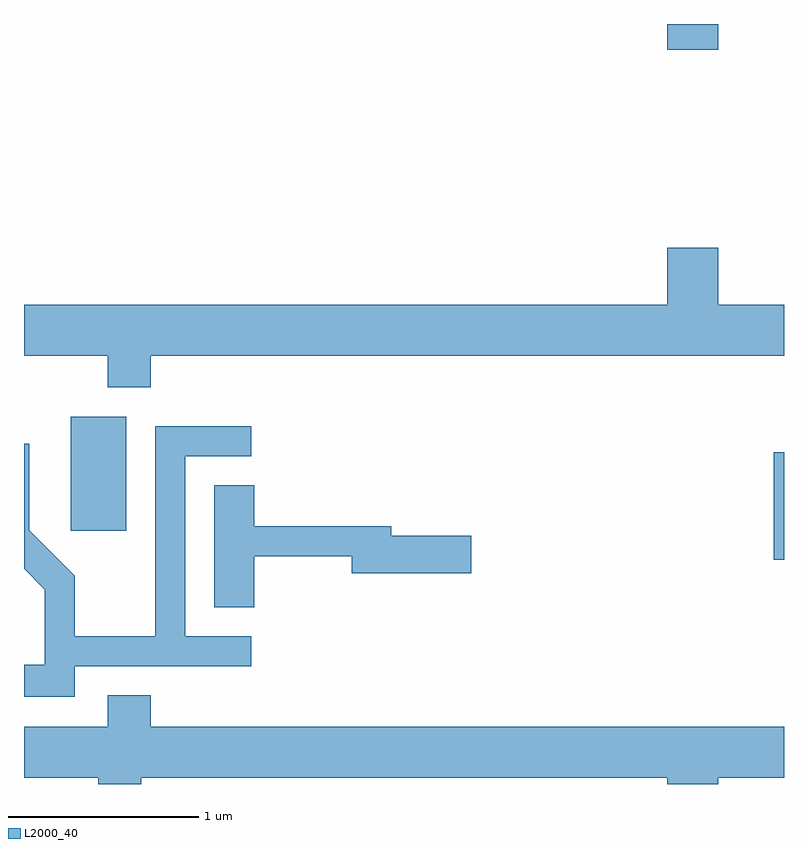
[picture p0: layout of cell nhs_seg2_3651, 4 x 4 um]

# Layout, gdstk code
import gdstk
lib = gdstk.Library(unit=1e-6, precision=1e-09)
def R(c, l, rs):  # rectangles x0, y0, x1, y1
    for r in rs: c.add(gdstk.rectangle(r[:2], r[2:], *l))
def P(c, l, *ps):  # polygons
    for p in ps: c.add(gdstk.Polygon(p, *l))
L2000_40 = (2000, 40)

nhs_seg2_3651 = lib.new_cell('nhs_seg2_3651')
R(nhs_seg2_3651, L2000_40, [(295.556,1084.981,295.611,1085.549), (291.856,1085.136,292.149,1085.734), (294.996,1087.666,295.264,1087.802)])
P(nhs_seg2_3651, L2000_40, [(292.279,1086.056),(295.611,1086.056),(295.611,1086.324),(295.264,1086.324),(295.264,1086.624),(294.996,1086.624),(294.996,1086.324),(291.611,1086.324),(291.611,1086.056),(292.051,1086.056),(292.051,1085.891),(292.279,1085.891)],
  [(291.879,1084.421),(292.808,1084.421),(292.808,1084.579),(292.459,1084.579),(292.459,1085.526),(292.808,1085.526),(292.808,1085.684),(292.301,1085.684),(292.301,1084.579),(291.879,1084.579),(291.879,1084.897),(291.639,1085.137),(291.639,1085.593),(291.611,1085.593),(291.611,1084.934),(291.721,1084.824),(291.721,1084.429),(291.611,1084.429),(291.611,1084.261),(291.879,1084.261)],
  [(292.824,1085.001),(293.336,1085.001),(293.336,1084.911),(293.964,1084.911),(293.964,1085.109),(293.544,1085.109),(293.544,1085.159),(292.824,1085.159),(292.824,1085.374),(292.611,1085.374),(292.611,1084.731),(292.824,1084.731)],
  [(292.229,1083.836),(294.996,1083.836),(294.996,1083.802),(295.264,1083.802),(295.264,1083.836),(295.611,1083.836),(295.611,1084.104),(292.279,1084.104),(292.279,1084.269),(292.051,1084.269),(292.051,1084.104),(291.611,1084.104),(291.611,1083.836),(292.001,1083.836),(292.001,1083.802),(292.229,1083.802)])

lib.write_gds('nhs_seg2_3651.gds')
